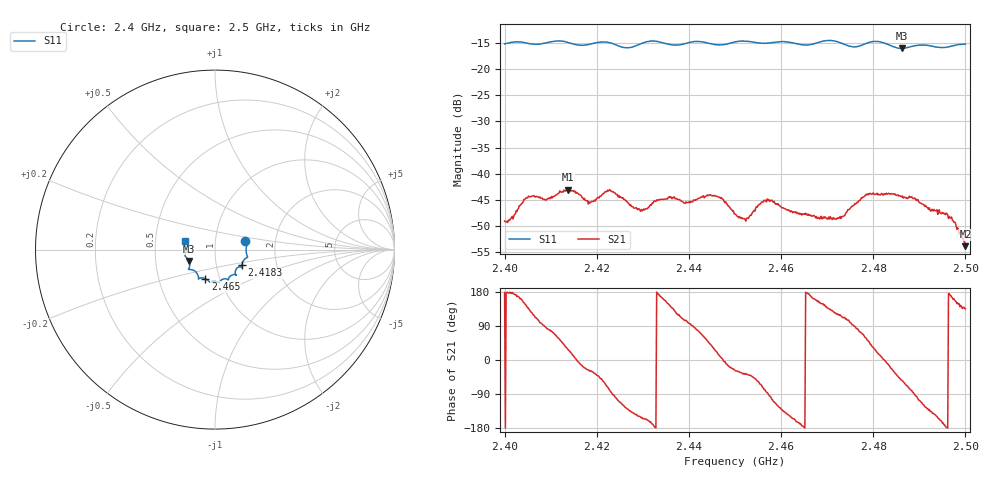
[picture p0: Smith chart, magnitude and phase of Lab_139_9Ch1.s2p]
# Hz S RI R
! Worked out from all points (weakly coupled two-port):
!   601 points, 2.4 GHz to 2.5 GHz, reference 50 ohm
!   highest |S21| = -43.05 dB at 2.4137 GHz (marker M1); lowest = -53.9 dB at 2.5 GHz (marker M2)
!   lowest |S11| = -16.0 dB at 2.4862 GHz (marker M3), VSWR 1.38, Z = 37.1 - j4.8 ohm
!   |S11| at or under -10 dB: start of sweep to end of sweep
!   S12 and S22 are empty: the file has one direction only
!   S11 on the Smith chart (normalised r, x): 2.4 GHz: 1.40, +0.13; 2.4183 GHz: 1.33, -0.24; 2.465 GHz: 0.86, -0.29; 2.5 GHz: 0.71, +0.07
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2.4e9  0.1687 0.046  -0.00352 0.000112  0 0  0 0
2.404833e9  0.1764 0.0206  -0.00456 0.00372  0 0  0 0
2.409167e9  0.177 -0.0288  0.000686 0.00565  0 0  0 0
2.413667e9  0.1749 -0.0463  0.00613 0.00346  0 0  0 0
2.416667e9  0.1547 -0.0684  0.00593 -0.00144  0 0  0 0
2.418333e9  0.1496 -0.0868  0.00478 -0.00244  0 0  0 0
2.422667e9  0.1506 -0.0987  0.00149 -0.00678  0 0  0 0
2.429333e9  0.113 -0.1319  -0.00384 -0.00232  0 0  0 0
2.433333e9  0.1165 -0.1414  -0.00553 0.000652  0 0  0 0
2.4395e9  0.0764 -0.1601  -0.00115 0.00514  0 0  0 0
2.445167e9  0.0603 -0.1626  0.00517 0.00338  0 0  0 0
2.45e9  0.025 -0.1807  0.00363 -0.00191  0 0  0 0
2.4525e9  0.0198 -0.1842  0.00297 -0.00227  0 0  0 0
2.4575e9  -0.014 -0.1776  -0.000457 -0.0054  0 0  0 0
2.465e9  -0.053 -0.1622  -0.00411 -0.00017  0 0  0 0
2.466667e9  -0.0715 -0.1576  -0.00379 0.000968  0 0  0 0
2.472167e9  -0.0917 -0.159  -0.00187 0.00326  0 0  0 0
2.478833e9  -0.1405 -0.1108  0.00398 0.00502  0 0  0 0
2.483333e9  -0.1422 -0.0959  0.00632 -0.00146  0 0  0 0
2.486167e9  -0.1448 -0.0631  0.00362 -0.00478  0 0  0 0
2.4965e9  -0.1627 0.0222  -0.00389 0.000317  0 0  0 0
2.5e9  -0.1668 0.0473  -0.00143 0.00142  0 0  0 0
